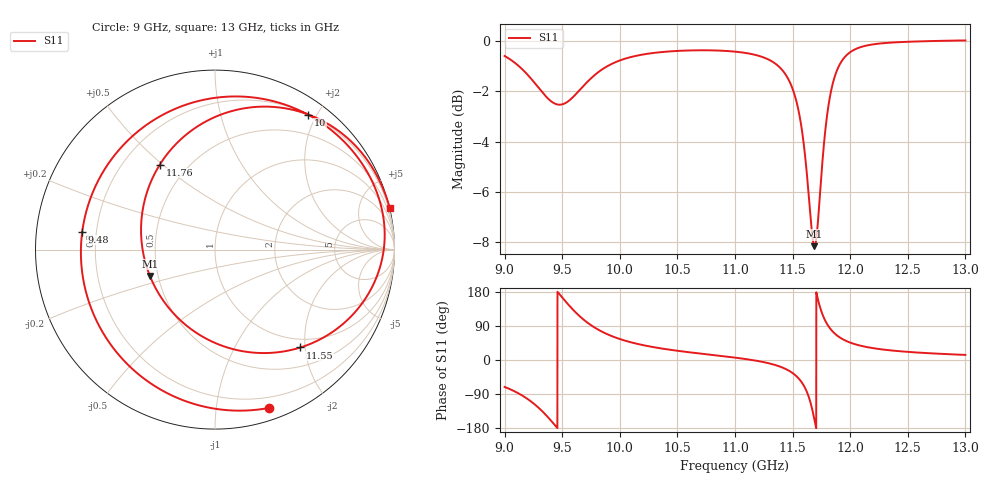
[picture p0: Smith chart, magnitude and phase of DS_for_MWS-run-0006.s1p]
! TOUCHSTONE file generated by CST DESIGN STUDIO
! Date and time: Tue Feb  4 15:52:06 2025
! Project name: C:\Work\MatlabApps\UnitCellOptimizationMatlab\CST\unitcell.cst
! Tree item: Tasks\Sweep1\SPara1\S-Parameters
! Header version: 2024
! Port assignment regex: !\s*Touchstone port\s*([0-9]+)\s*=\s*(CST MWS port|CST DES external port|CST DES block port)\s*(.+)\s* \(\"(.*)\"\)(\s*mode\s*([0-9]+))?.*
! Touchstone port assignment:
! Touchstone port 1 = CST DES external port 1 ("")
# GHz S MA R 50
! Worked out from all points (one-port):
!   4001 points, 9 GHz to 13 GHz, reference 50 ohm
!   lowest |S11| = -8.1 dB at 11.69 GHz (marker M1), VSWR 2.29, Z = 22.5 - j7.81 ohm
!   |S11| at or under -10 dB: nowhere
!   S11 on the Smith chart (normalised r, x): 9 GHz: 0.10, -1.39; 9.48 GHz: 0.15, +0.07; 10 GHz: 0.21, +1.89; 11.55 GHz: 0.83, -1.91; 11.76 GHz: 0.35, +0.49; 13 GHz: -0.02, +8.48
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9  0.9322 -71.1
9.146  0.8806 -92.5
9.257  0.8262 -116.1
9.383  0.7651 -153.1
9.48  0.7464 172.3
9.5  0.7475 165.0
9.606  0.7778 128.9
9.707  0.8233 101.4
9.852  0.8784 73.7
10  0.9133 55.3
10.213  0.9395 38.5
10.5  0.954 24.3
11  0.9508 6.3
11.33  0.9067 -11.5
11.5  0.8024 -34.5
11.553  0.7239 -48.9
11.629  0.5282 -87.9
11.659  0.4377 -116.5
11.69  0.3913 -158.0
11.722  0.4433 157.5
11.756  0.5647 123.0
11.795  0.6984 97.2
11.84  0.8064 77.9
11.913  0.9002 58.9
12  0.9485 45.9
12.185  0.9819 31.9
12.5  0.9946 21.4
13  1.001 13.5
